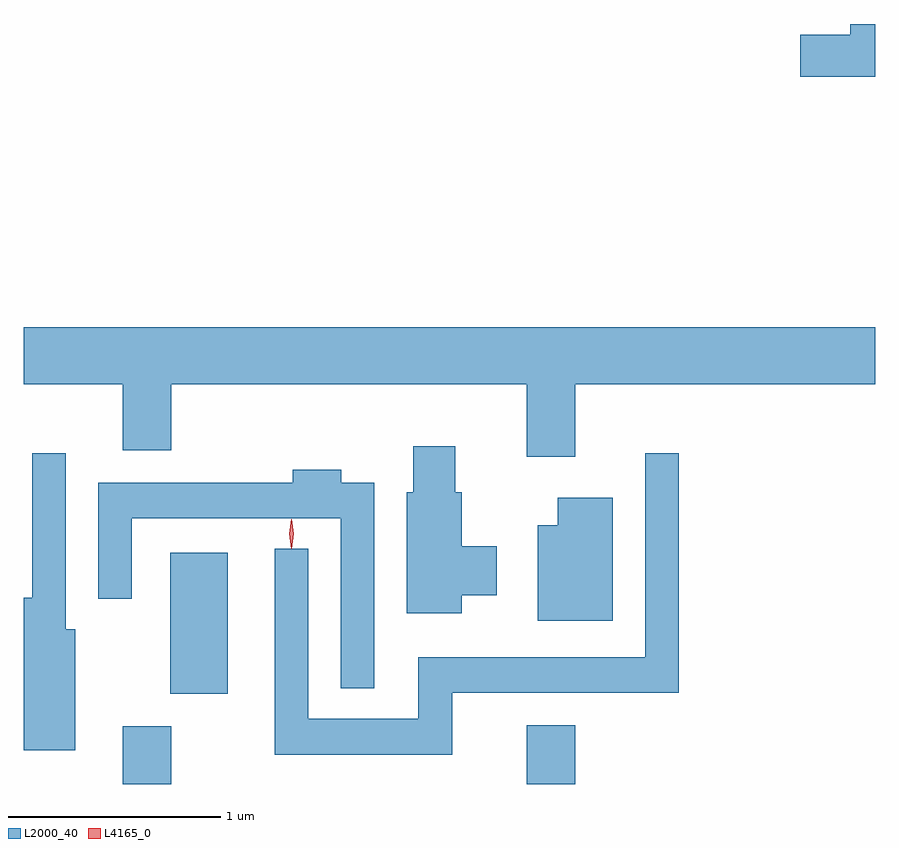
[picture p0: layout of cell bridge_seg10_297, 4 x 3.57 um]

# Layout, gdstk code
import gdstk
lib = gdstk.Library(unit=1e-6, precision=1e-09)
def R(c, l, rs):  # rectangles x0, y0, x1, y1
    for r in rs: c.add(gdstk.rectangle(r[:2], r[2:], *l))
def P(c, l, *ps):  # polygons
    for p in ps: c.add(gdstk.Polygon(p, *l))
L2000_40 = (2000, 40)
L4165_0 = (4165, 0)

bridge_seg10_297 = lib.new_cell('bridge_seg10_297')
R(bridge_seg10_297, L2000_40, [(1401.631,2167.538,1401.859,2167.809), (1403.531,2167.538,1403.759,2167.814), (1401.856,2167.961,1402.124,2168.624)])
P(bridge_seg10_297, L2000_40, [(1405.167,2171.109),(1405.051,2171.109),(1405.051,2171.059),(1404.816,2171.059),(1404.816,2170.861),(1405.167,2170.861)],
  [(1403.759,2169.416),(1405.167,2169.416),(1405.167,2169.684),(1401.167,2169.684),(1401.167,2169.416),(1401.631,2169.416),(1401.631,2169.106),(1401.859,2169.106),(1401.859,2169.416),(1403.531,2169.416),(1403.531,2169.076),(1403.759,2169.076)],
  [(1403.224,2168.426),(1403.389,2168.426),(1403.389,2168.654),(1403.224,2168.654),(1403.224,2168.909),(1403.194,2168.909),(1403.194,2169.124),(1402.996,2169.124),(1402.996,2168.909),(1402.966,2168.909),(1402.966,2168.341),(1403.224,2168.341)],
  [(1401.409,2168.264),(1401.364,2168.264),(1401.364,2169.093),(1401.206,2169.093),(1401.206,2168.414),(1401.167,2168.414),(1401.167,2167.696),(1401.409,2167.696)],
  [(1403.179,2167.966),(1404.244,2167.966),(1404.244,2169.093),(1404.086,2169.093),(1404.086,2168.134),(1403.021,2168.134),(1403.021,2167.844),(1402.504,2167.844),(1402.504,2168.643),(1402.346,2168.643),(1402.346,2167.676),(1403.179,2167.676)],
  [(1402.814,2168.954),(1402.659,2168.954),(1402.659,2169.014),(1402.431,2169.014),(1402.431,2168.954),(1401.516,2168.954),(1401.516,2168.408),(1401.674,2168.408),(1401.674,2168.786),(1402.656,2168.786),(1402.656,2167.988),(1402.814,2167.988)],
  [(1403.934,2168.884),(1403.676,2168.884),(1403.676,2168.754),(1403.581,2168.754),(1403.581,2168.306),(1403.934,2168.306)])
P(bridge_seg10_297, L4165_0, [(1402.424,2168.644),(1402.415,2168.713),(1402.424,2168.782),(1402.425,2168.783),(1402.425,2168.782),(1402.435,2168.713),(1402.425,2168.644),(1402.425,2168.644)],
  [(1402.424,2168.647),(1402.423,2168.648),(1402.414,2168.714),(1402.423,2168.78),(1402.424,2168.78),(1402.424,2168.78),(1402.434,2168.714),(1402.424,2168.648)])

lib.write_gds('bridge_seg10_297.gds')
